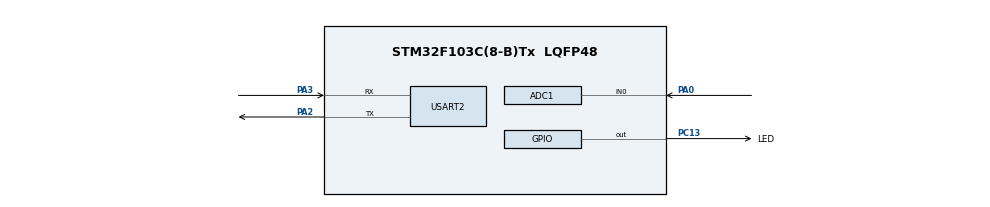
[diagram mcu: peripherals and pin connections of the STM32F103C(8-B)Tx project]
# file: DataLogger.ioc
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ADC1.Channel-1\#ChannelRegularConversion=ADC_CHANNEL_0
ADC1.ExternalTrigConv=ADC_EXTERNALTRIGCONV_T3_TRGO
ADC1.NbrOfConversionFlag=1
ADC1.Rank-1\#ChannelRegularConversion=1
ADC1.SamplingTime-1\#ChannelRegularConversion=ADC_SAMPLETIME_239CYCLES_5
ADC1.master=1
Dma.Request0=USART2_TX
Dma.USART2_TX.0.Direction=DMA_MEMORY_TO_PERIPH
Dma.USART2_TX.0.Instance=DMA1_Channel7
Dma.USART2_TX.0.MemDataAlignment=DMA_MDATAALIGN_BYTE
Dma.USART2_TX.0.MemInc=DMA_MINC_ENABLE
Dma.USART2_TX.0.Mode=DMA_NORMAL
Dma.USART2_TX.0.PeriphDataAlignment=DMA_PDATAALIGN_BYTE
Dma.USART2_TX.0.PeriphInc=DMA_PINC_DISABLE
Dma.USART2_TX.0.Priority=DMA_PRIORITY_LOW
Mcu.Family=STM32F1
Mcu.Name=STM32F103C(8-B)Tx
Mcu.Package=LQFP48
NVIC.ADC1_2_IRQn=true\:0\:0\:false\:false\:true\:true\:true
NVIC.DMA1_Channel7_IRQn=true\:0\:0\:false\:false\:true\:false\:true
NVIC.PriorityGroup=NVIC_PRIORITYGROUP_4
NVIC.USART2_IRQn=true\:0\:0\:false\:false\:true\:true\:true
PA0-WKUP.Signal=ADCx_IN0
PA13.Mode=Serial_Wire
PA13.Signal=SYS_JTMS-SWDIO
PA14.Mode=Serial_Wire
PA14.Signal=SYS_JTCK-SWCLK
PA2.Mode=Asynchronous
PA2.Signal=USART2_TX
PA3.Mode=Asynchronous
PA3.Signal=USART2_RX
PC13-TAMPER-RTC.GPIO_Label=LED
PC13-TAMPER-RTC.Signal=GPIO_Output
ProjectManager.HeapSize=0x200
ProjectManager.StackSize=0x400
ProjectManager.TargetToolchain=STM32CubeIDE
RCC.AHBFreq_Value=8000000
RCC.APB1Freq_Value=8000000
RCC.APB1TimFreq_Value=8000000
RCC.APB2Freq_Value=8000000
RCC.APB2TimFreq_Value=8000000
RCC.HCLKFreq_Value=8000000
SH.ADCx_IN0.0=ADC1_IN0,IN0
TIM3.Period=999
TIM3.Prescaler=7999
TIM3.TIM_MasterOutputTrigger=TIM_TRGO_UPDATE
TIM3.TIM_MasterSlaveMode=TIM_MASTERSLAVEMODE_ENABLE
USART2.VirtualMode=VM_ASYNC
VP_TIM3_VS_ClockSourceINT.Mode=Internal
board=custom

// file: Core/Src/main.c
/* USER CODE BEGIN Header */
/**
  ******************************************************************************
  * @file           : main.c
  * @brief          : Main program body
  ******************************************************************************
  * @attention
  *
  * <h2><center>&copy; Copyright (c) 2020 STMicroelectronics.
  * All rights reserved.</center></h2>
  *
  * This software component is licensed by ST under BSD 3-Clause license,
  * the "License"; You may not use this file except in compliance with the
  * License. You may obtain a copy of the License at:
  *                        opensource.org/licenses/BSD-3-Clause
  *
  ******************************************************************************
  */
/* USER CODE END Header */
#include "main.h"

/* USER CODE BEGIN PD */
#define BUFFER_SIZE				10
#define ENVIAR_BUFFER 			'E'
#define CONFIGURAR				'C'
#define NADA 					'N'
#define ADQUIRIR 				'A'

/* USER CODE END PD */

ADC_HandleTypeDef hadc1;

TIM_HandleTypeDef htim3;

UART_HandleTypeDef huart2;
DMA_HandleTypeDef hdma_usart2_tx;

/* USER CODE BEGIN PV */
uint8_t adc_buffer[BUFFER_SIZE];
uint16_t adc_index;
uint8_t error_buffer;
uint8_t rx_dato;
uint8_t tx_dato;
uint8_t flag_cambio;
uint8_t flag_actual;
/*
uint8_t enviar_buffer =	'E';
uint8_t configurar=	'C';
uint8_t nada= 'N';
uint8_t adquirir= 'A';
*/
/* USER CODE END PV */

void SystemClock_Config(void);
static void MX_GPIO_Init(void);
static void MX_DMA_Init(void);
static void MX_ADC1_Init(void);
static void MX_TIM3_Init(void);
static void MX_USART2_UART_Init(void);

int main(void)
{

  /* MCU Configuration--------------------------------------------------------*/

  /* Reset of all peripherals, Initializes the Flash interface and the Systick. */
  HAL_Init();

  /* Configure the system clock */
  SystemClock_Config();

  /* Initialize all configured peripherals */
  MX_GPIO_Init();
  MX_DMA_Init();
  MX_ADC1_Init();
  MX_TIM3_Init();
  MX_USART2_UART_Init();
  /* USER CODE BEGIN 2 */
  flag_cambio = 0;
  flag_actual = NADA;
  adc_index = 0;
  error_buffer = 0;

  // LLenar el buffer para pruebas
  for (uint16_t i=0; i<BUFFER_SIZE; i++){
	  adc_buffer[i] = i%255;
  }

  HAL_ADCEx_Calibration_Start(&hadc1);
  //HAL_ADC_Start_IT(&hadc1);
  //HAL_TIM_Base_Start(&htim3);
  HAL_UART_Receive_IT(&huart2, &rx_dato, 1);
  /* USER CODE END 2 */

  /* Infinite loop */
  /* USER CODE BEGIN WHILE */
  while (1)
  {
	  /*
	  if (flag_actual == NADA){
		  // Toggle solo para ubicar donde está
		  HAL_GPIO_TogglePin(LED_GPIO_Port, LED_Pin);
		  HAL_Delay(200);
	  }
	  */
	  if (flag_cambio == 1){
		switch (flag_actual)
		{
		case ENVIAR_BUFFER:
			flag_actual = ENVIAR_BUFFER;
			HAL_UART_Transmit(&huart2, &flag_actual, 1, 1);
			// Detiene el TIM3 y por lo tento el ADC
			HAL_ADC_Stop_IT(&hadc1);
			HAL_TIM_Base_Stop(&htim3);
			// Verifica si hubo error por overflow en el adc_buffer
			if (error_buffer == 1){
				// Significa que el buffer hizo overflow y se sobreescribieron datos
				adc_buffer[0] = 0xFF;
				// El código 0xFF indica que hubo error. El ADC está mapeado de 0 a 254.
			}
			// Activa transmisión DMA del buffer
			HAL_UART_Transmit_DMA(&huart2, adc_buffer, BUFFER_SIZE);
			// En el callback del Tx se sale de este modo
			break;

		case CONFIGURAR:
			flag_actual = CONFIGURAR;
			// Completar
			break;

		case NADA:
			flag_actual = NADA;
			// Se frena al ADC
			HAL_ADC_Stop_IT(&hadc1);
			HAL_TIM_Base_Stop(&htim3);
			break;

		case ADQUIRIR:
			flag_actual = ADQUIRIR;
			// Se resetea index_adc
			adc_index = 0;
			// Se resetea el error del buffer
			error_buffer = 0;
			// Comienza el ADC IT (se renueva dentro de la misma rutina)
			HAL_ADC_Start_IT(&hadc1);
			// Comienza el TIM3 para disparar al ADC
			HAL_TIM_Base_Start(&htim3);
			break;

		default:
			HAL_GPIO_TogglePin(LED_GPIO_Port, LED_Pin);
			flag_actual = 0;
		}
		// El flag tiene que dejar de estar en cambio de flag
		flag_cambio = 0;
		// Una vez hecho lo que habia que hacer, se activan Rx_IT
		// Y se confirma recepcion
		if ((flag_actual != ENVIAR_BUFFER) && (flag_actual != 0)){
			HAL_UART_Transmit(&huart2, &flag_actual, 1, 1);
			HAL_UART_Receive_IT(&huart2, &rx_dato, 1);
		}
		if (flag_actual == 0){
			flag_actual = NADA;
		}
	  }
    /* USER CODE END WHILE */

  }
}

void SystemClock_Config(void)
{
  RCC_OscInitTypeDef RCC_OscInitStruct = {0};
  RCC_ClkInitTypeDef RCC_ClkInitStruct = {0};
  RCC_PeriphCLKInitTypeDef PeriphClkInit = {0};

  /** Initializes the RCC Oscillators according to the specified parameters
  * in the RCC_OscInitTypeDef structure.
  */
  RCC_OscInitStruct.OscillatorType = RCC_OSCILLATORTYPE_HSI;
  RCC_OscInitStruct.HSIState = RCC_HSI_ON;
  RCC_OscInitStruct.HSICalibrationValue = RCC_HSICALIBRATION_DEFAULT;
  RCC_OscInitStruct.PLL.PLLState = RCC_PLL_NONE;
  if (HAL_RCC_OscConfig(&RCC_OscInitStruct) != HAL_OK)
  {
    Error_Handler();
  }
  /** Initializes the CPU, AHB and APB buses clocks
  */
  RCC_ClkInitStruct.ClockType = RCC_CLOCKTYPE_HCLK|RCC_CLOCKTYPE_SYSCLK
                              |RCC_CLOCKTYPE_PCLK1|RCC_CLOCKTYPE_PCLK2;
  RCC_ClkInitStruct.SYSCLKSource = RCC_SYSCLKSOURCE_HSI;
  RCC_ClkInitStruct.AHBCLKDivider = RCC_SYSCLK_DIV1;
  RCC_ClkInitStruct.APB1CLKDivider = RCC_HCLK_DIV1;
  RCC_ClkInitStruct.APB2CLKDivider = RCC_HCLK_DIV1;

  if (HAL_RCC_ClockConfig(&RCC_ClkInitStruct, FLASH_LATENCY_0) != HAL_OK)
  {
    Error_Handler();
  }
  PeriphClkInit.PeriphClockSelection = RCC_PERIPHCLK_ADC;
  PeriphClkInit.AdcClockSelection = RCC_ADCPCLK2_DIV2;
  if (HAL_RCCEx_PeriphCLKConfig(&PeriphClkInit) != HAL_OK)
  {
    Error_Handler();
  }
}

static void MX_ADC1_Init(void)
{

  ADC_ChannelConfTypeDef sConfig = {0};

  /** Common config
  */
  hadc1.Instance = ADC1;
  hadc1.Init.ScanConvMode = ADC_SCAN_DISABLE;
  hadc1.Init.ContinuousConvMode = DISABLE;
  hadc1.Init.DiscontinuousConvMode = DISABLE;
  hadc1.Init.ExternalTrigConv = ADC_EXTERNALTRIGCONV_T3_TRGO;
  hadc1.Init.DataAlign = ADC_DATAALIGN_RIGHT;
  hadc1.Init.NbrOfConversion = 1;
  if (HAL_ADC_Init(&hadc1) != HAL_OK)
  {
    Error_Handler();
  }
  /** Configure Regular Channel
  */
  sConfig.Channel = ADC_CHANNEL_0;
  sConfig.Rank = ADC_REGULAR_RANK_1;
  sConfig.SamplingTime = ADC_SAMPLETIME_239CYCLES_5;
  if (HAL_ADC_ConfigChannel(&hadc1, &sConfig) != HAL_OK)
  {
    Error_Handler();
  }

}

static void MX_TIM3_Init(void)
{

  TIM_ClockConfigTypeDef sClockSourceConfig = {0};
  TIM_MasterConfigTypeDef sMasterConfig = {0};

  htim3.Instance = TIM3;
  htim3.Init.Prescaler = 7999;
  htim3.Init.CounterMode = TIM_COUNTERMODE_UP;
  htim3.Init.Period = 999;
  htim3.Init.ClockDivision = TIM_CLOCKDIVISION_DIV1;
  htim3.Init.AutoReloadPreload = TIM_AUTORELOAD_PRELOAD_DISABLE;
  if (HAL_TIM_Base_Init(&htim3) != HAL_OK)
  {
    Error_Handler();
  }
  sClockSourceConfig.ClockSource = TIM_CLOCKSOURCE_INTERNAL;
  if (HAL_TIM_ConfigClockSource(&htim3, &sClockSourceConfig) != HAL_OK)
  {
    Error_Handler();
  }
  sMasterConfig.MasterOutputTrigger = TIM_TRGO_UPDATE;
  sMasterConfig.MasterSlaveMode = TIM_MASTERSLAVEMODE_ENABLE;
  if (HAL_TIMEx_MasterConfigSynchronization(&htim3, &sMasterConfig) != HAL_OK)
  {
    Error_Handler();
  }

}

static void MX_USART2_UART_Init(void)
{

  huart2.Instance = USART2;
  huart2.Init.BaudRate = 115200;
  huart2.Init.WordLength = UART_WORDLENGTH_8B;
  huart2.Init.StopBits = UART_STOPBITS_1;
  huart2.Init.Parity = UART_PARITY_NONE;
  huart2.Init.Mode = UART_MODE_TX_RX;
  huart2.Init.HwFlowCtl = UART_HWCONTROL_NONE;
  huart2.Init.OverSampling = UART_OVERSAMPLING_16;
  if (HAL_UART_Init(&huart2) != HAL_OK)
  {
    Error_Handler();
  }

}

static void MX_DMA_Init(void)
{

  /* DMA controller clock enable */
  __HAL_RCC_DMA1_CLK_ENABLE();

  /* DMA interrupt init */
  /* DMA1_Channel7_IRQn interrupt configuration */
  HAL_NVIC_SetPriority(DMA1_Channel7_IRQn, 0, 0);
  HAL_NVIC_EnableIRQ(DMA1_Channel7_IRQn);

}

static void MX_GPIO_Init(void)
{
  GPIO_InitTypeDef GPIO_InitStruct = {0};

  /* GPIO Ports Clock Enable */
  __HAL_RCC_GPIOC_CLK_ENABLE();
  __HAL_RCC_GPIOA_CLK_ENABLE();

  /*Configure GPIO pin Output Level */
  HAL_GPIO_WritePin(LED_GPIO_Port, LED_Pin, GPIO_PIN_RESET);

  /*Configure GPIO pin : LED_Pin */
  GPIO_InitStruct.Pin = LED_Pin;
  GPIO_InitStruct.Mode = GPIO_MODE_OUTPUT_PP;
  GPIO_InitStruct.Pull = GPIO_NOPULL;
  GPIO_InitStruct.Speed = GPIO_SPEED_FREQ_LOW;
  HAL_GPIO_Init(LED_GPIO_Port, &GPIO_InitStruct);

}

/* USER CODE BEGIN 4 */

void HAL_ADC_ConvCpltCallback(ADC_HandleTypeDef* hadc){
	// Toggle para visual
	// HAL_GPIO_TogglePin(LED_GPIO_Port, LED_Pin);
	// Se agrega un dato al buffer
	// Pasa el valor del ADC de 12 bits a 8 bits
	uint8_t valorADC = (HAL_ADC_GetValue(&hadc1) & 0xFF0) >> 4;
	// El 0xFF es el código para indicar error asi que no puede ser usado
	if (valorADC == 0xFF)
		valorADC = 254;
	adc_buffer[adc_index] = valorADC;
	// Se incrementa el adc_index
	adc_index++;
	if (adc_index >= BUFFER_SIZE){
		adc_index = 0;
		error_buffer = 1;
	}
}

void HAL_UART_TxCpltCallback(UART_HandleTypeDef *huart){
	HAL_GPIO_TogglePin(LED_GPIO_Port, LED_Pin);
	// Vuelve a esperar para recibir dato
	HAL_UART_Receive_IT(&huart2, &rx_dato, 1);
	// Resetea los contenidos del buffer
	for (uint16_t i=0; i<BUFFER_SIZE; i++){
		adc_buffer[i] = 0;
	}
	// Sale del modo enviar
	flag_cambio = 1;
	flag_actual = 0;
}

void HAL_UART_RxCpltCallback(UART_HandleTypeDef *huart){
	flag_cambio = 1;
	flag_actual = rx_dato;
}

/* USER CODE END 4 */

void Error_Handler(void)
{
  /* USER CODE BEGIN Error_Handler_Debug */
  /* User can add his own implementation to report the HAL error return state */
	while(1){
		HAL_GPIO_TogglePin(LED_GPIO_Port, LED_Pin);
		HAL_Delay(200);
	}
  /* USER CODE END Error_Handler_Debug */
}

/************************ (C) COPYRIGHT STMicroelectronics *****END OF FILE****/
